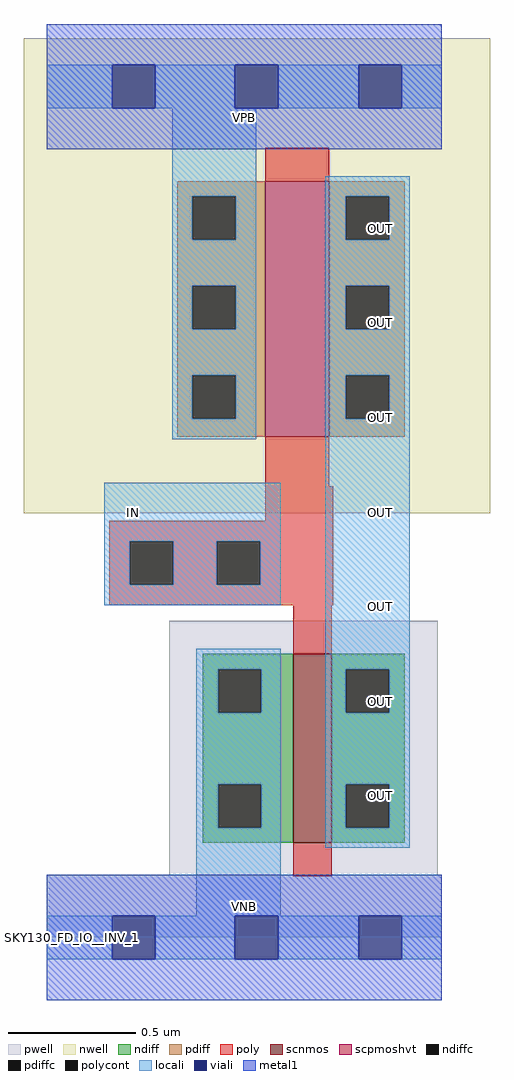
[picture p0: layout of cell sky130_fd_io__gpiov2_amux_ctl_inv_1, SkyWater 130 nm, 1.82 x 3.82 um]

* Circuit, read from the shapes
.subckt sky130_fd_io__gpiov2_amux_ctl_inv_1 VNB VPB VPWR VGND OUT IN
XM1 OUT IN VGND VNB sky130_fd_pr__nfet_01v8 w=0.74 l=0.15
XM2 OUT IN VPWR VPB sky130_fd_pr__pfet_01v8_hvt w=1 l=0.25
.ends

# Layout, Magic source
magic
tech sky130A
magscale 1 2
<< nwell >>
rect -19 332 346 704
<< pwell >>
rect 95 49 305 248
rect -1 0 308 49
<< scnmos >>
rect 192 74 222 222
<< scpmoshvt >>
rect 170 392 220 592
<< ndiff >>
rect 121 210 192 222
rect 121 176 133 210
rect 167 176 192 210
rect 121 120 192 176
rect 121 86 133 120
rect 167 86 192 120
rect 121 74 192 86
rect 222 210 279 222
rect 222 176 233 210
rect 267 176 279 210
rect 222 120 279 176
rect 222 86 233 120
rect 267 86 279 120
rect 222 74 279 86
<< pdiff >>
rect 101 580 170 592
rect 101 546 113 580
rect 147 546 170 580
rect 101 510 170 546
rect 101 476 113 510
rect 147 476 170 510
rect 101 440 170 476
rect 101 406 113 440
rect 147 406 170 440
rect 101 392 170 406
rect 220 580 279 592
rect 220 546 233 580
rect 267 546 279 580
rect 220 510 279 546
rect 220 476 233 510
rect 267 476 279 510
rect 220 440 279 476
rect 220 406 233 440
rect 267 406 279 440
rect 220 392 279 406
<< ndiffc >>
rect 133 176 167 210
rect 133 86 167 120
rect 233 176 267 210
rect 233 86 267 120
<< pdiffc >>
rect 113 546 147 580
rect 113 476 147 510
rect 113 406 147 440
rect 233 546 267 580
rect 233 476 267 510
rect 233 406 267 440
<< poly >>
rect 170 592 220 618
rect 170 353 220 392
rect 170 326 223 353
rect 48 310 223 326
rect 48 276 64 310
rect 98 276 132 310
rect 166 276 223 310
rect 48 260 223 276
rect 192 222 222 260
rect 192 48 222 74
<< polycont >>
rect 64 276 98 310
rect 132 276 166 310
<< locali >>
rect -1 649 50 683
rect 84 649 146 683
rect 180 649 243 683
rect 277 649 308 683
rect 97 580 163 649
rect 97 546 113 580
rect 147 546 163 580
rect 97 510 163 546
rect 97 476 113 510
rect 147 476 163 510
rect 97 440 163 476
rect 97 406 113 440
rect 147 406 163 440
rect 97 390 163 406
rect 217 580 283 596
rect 217 546 233 580
rect 267 546 283 580
rect 217 510 283 546
rect 217 476 233 510
rect 267 476 283 510
rect 217 440 283 476
rect 217 406 233 440
rect 267 406 283 440
rect 44 310 182 356
rect 44 276 64 310
rect 98 276 132 310
rect 166 276 182 310
rect 44 260 182 276
rect 116 210 182 226
rect 116 176 133 210
rect 167 176 182 210
rect 116 120 182 176
rect 116 86 133 120
rect 167 86 182 120
rect 116 17 182 86
rect 217 210 283 406
rect 217 176 233 210
rect 267 176 283 210
rect 217 120 283 176
rect 217 86 233 120
rect 267 86 283 120
rect 217 70 283 86
rect -1 -17 50 17
rect 84 -17 146 17
rect 180 -17 243 17
rect 277 -17 308 17
<< viali >>
rect 50 649 84 683
rect 146 649 180 683
rect 243 649 277 683
rect 50 -17 84 17
rect 146 -17 180 17
rect 243 -17 277 17
<< metal1 >>
rect -1 683 308 715
rect -1 649 50 683
rect 84 649 146 683
rect 180 649 243 683
rect 277 649 308 683
rect -1 617 308 649
rect -1 17 308 49
rect -1 -17 50 17
rect 84 -17 146 17
rect 180 -17 243 17
rect 277 -17 308 17
rect -1 -49 308 -17
<< labels >>
rlabel comment s 19 0 19 0 4 SKY130_FD_IO__INV_1
flabel pwell s -1 0 308 49 0 FreeSans 200 0 0 0 VNB
port 1 nsew
flabel nwell s -1 617 308 666 0 FreeSans 200 0 0 0 VPB
port 2 nsew
flabel metal1 s -1 617 308 666 0 FreeSans 340 0 0 0 VPWR
port 3 nsew
flabel metal1 s -1 0 308 49 0 FreeSans 340 0 0 0 VGND
port 4 nsew
flabel locali s 243 94 277 128 0 FreeSans 340 0 0 0 OUT
port 5 nsew
flabel locali s 243 168 277 202 0 FreeSans 340 0 0 0 OUT
port 5 nsew
flabel locali s 243 242 277 276 0 FreeSans 340 0 0 0 OUT
port 5 nsew
flabel locali s 243 316 277 350 0 FreeSans 340 0 0 0 OUT
port 5 nsew
flabel locali s 243 390 277 424 0 FreeSans 340 0 0 0 OUT
port 5 nsew
flabel locali s 243 464 277 498 0 FreeSans 340 0 0 0 OUT
port 5 nsew
flabel locali s 243 538 277 572 0 FreeSans 340 0 0 0 OUT
port 5 nsew
flabel locali s 50 316 84 350 0 FreeSans 340 0 0 0 IN
port 6 nsew
<< properties >>
string FIXED_BBOX -1 0 308 666
string GDS_FILE $PDKPATH/libs.ref/sky130_fd_io/gds/sky130_ef_io__gpiov2_pad_wrapped.gds
string GDS_END 480778
string GDS_START 476898
<< end >>
